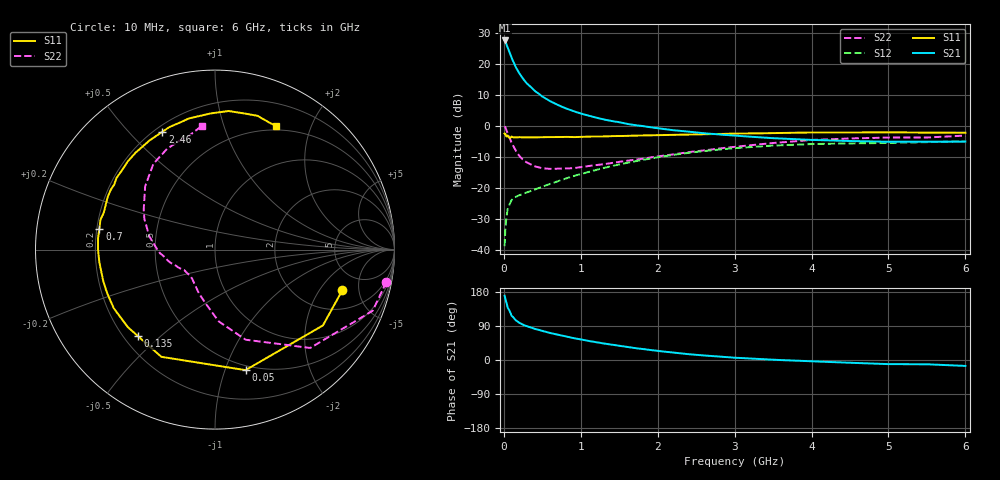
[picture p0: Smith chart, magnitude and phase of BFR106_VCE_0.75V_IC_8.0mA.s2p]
! Infineon Technologies  Discrete & RF Semiconductors
! BFR106
! VCE = 0.75 V,  IC =  8.0 mA
! Common Emitter S-Parameters:  Nov 2015
# GHz  S  MA  R  50
!  f  S11  S21  S12  S22
! GHz  MAG  ANG  MAG  ANG  MAG  ANG  MAG  ANG
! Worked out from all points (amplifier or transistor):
!   210 points, 10 MHz to 6 GHz, reference 50 ohm
!   highest |S21| = 27.5 dB at 10 MHz (marker M1)
!   |S21| within 3 dB of that: start of sweep to 62.11 MHz
!   unconditionally stable (mu >= 1): 490.5 MHz to end of sweep
!   at 185 MHz: K = 0.52, MSG = 20.1 dB, |S12| = -22.6 dB
!   at 1.52 GHz: K = 1.13, MAG = 4.5 dB, |S12| = -12.4 dB
!   at 6 GHz: K = 1.03, MAG = -1.1 dB, |S12| = -5.1 dB
!   S11 on the Smith chart (normalised r, x): 10 MHz: 3.30, -3.34; 50 MHz: 0.46, -1.18; 135 MHz: 0.26, -0.42; 700 MHz: 0.21, +0.09; 2.46 GHz: 0.23, +0.63; 6 GHz: 0.45, +1.52
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0.01  0.7451 -17.6  23.62 169.6  0.0114 82.5  0.9717 -10.7
0.02  0.7349 -35.1  22.88 160.6  0.0222 73.4  0.9422 -21.2
0.05  0.6928 -75.8  18.31 138.0  0.0457 55.8  0.7631 -45.9
0.1  0.668 -116.6  12.42 117.0  0.0633 41.8  0.5305 -71.2
0.135  0.6455 -131.6  9.972 109.6  0.0683 38.3  0.4366 -81.2
0.15  0.6499 -138.2  8.991 105.3  0.0705 36.9  0.4018 -86.8
0.2  0.6518 -149.9  7.003 98.2  0.0754 36.4  0.3267 -96.2
0.24  0.6478 -156.8  5.927 94.0  0.0788 36.8  0.2886 -103.0
0.3  0.6466 -164.7  4.776 88.8  0.0839 38.4  0.2544 -111.4
0.4  0.6482 -173.8  3.653 82.2  0.0932 41.5  0.2214 -121.6
0.5  0.6516 -179.9  2.948 76.6  0.1033 44.6  0.2053 -128.6
0.6  0.6547 174.4  2.484 71.3  0.1148 47.0  0.201 -133.8
0.7  0.6543 169.7  2.161 66.5  0.1265 49.0  0.2028 -138.7
0.9  0.653 161.8  1.717 58.1  0.1529 51.1  0.206 -146.6
1.02  0.6596 156.9  1.544 53.5  0.1685 51.5  0.2162 -149.8
1.4  0.6783 144.1  1.187 40.5  0.2223 50.9  0.25 -161.3
2.02  0.7006 125.8  0.901 23.6  0.3121 44.5  0.3219 179.9
2.46  0.7192 114.0  0.787 14.4  0.3718 38.1  0.3815 166.4
3.1  0.746 99.5  0.676 5.1  0.4416 27.3  0.467 147.9
4.1  0.7751 83.1  0.584 -4.2  0.5065 11.5  0.5936 123.5
5.1  0.7793 71.4  0.55 -11.0  0.5291 -0.8  0.6434 105.8
6  0.7685 63.6  0.553 -15.6  0.5582 -9.7  0.6922 96.2
